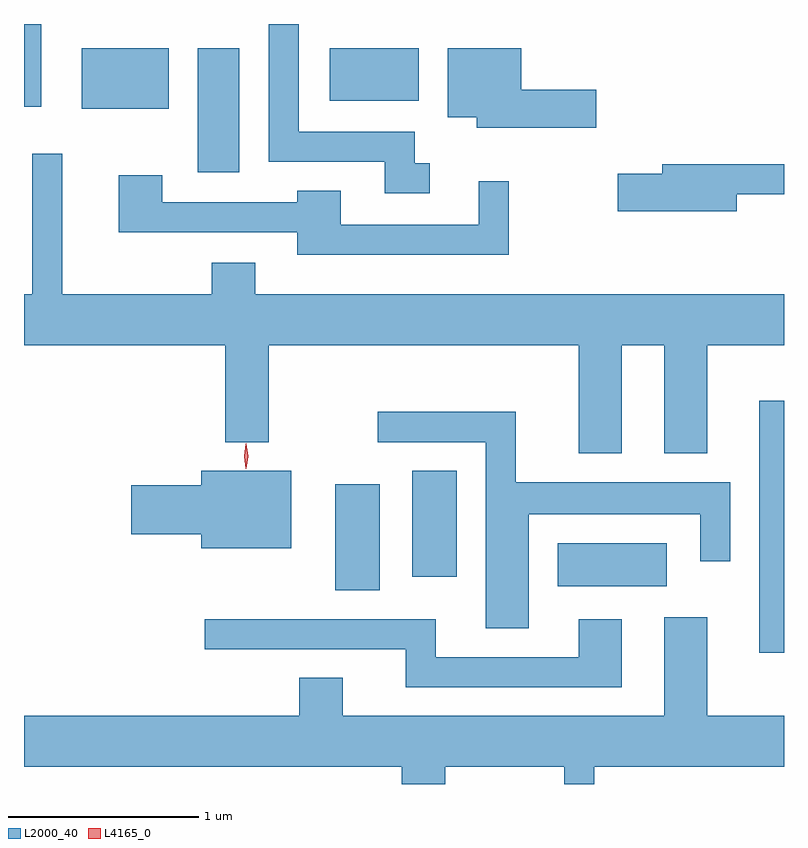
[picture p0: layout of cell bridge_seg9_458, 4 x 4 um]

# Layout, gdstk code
import gdstk
lib = gdstk.Library(unit=1e-6, precision=1e-09)
def R(c, l, rs):  # rectangles x0, y0, x1, y1
    for r in rs: c.add(gdstk.rectangle(r[:2], r[2:], *l))
def P(c, l, *ps):  # polygons
    for p in ps: c.add(gdstk.Polygon(p, *l))
L2000_40 = (2000, 40)
L4165_0 = (4165, 0)

bridge_seg9_458 = lib.new_cell('bridge_seg9_458')
R(bridge_seg9_458, L2000_40, [(490.181,1996.856,490.312,1998.184), (487.951,1997.186,488.184,1997.744), (489.121,1997.206,489.694,1997.434), (488.356,1997.256,488.589,1997.814), (487.226,1999.386,487.444,2000.039), (486.616,1999.721,487.074,2000.039), (486.312,1999.731,486.404,2000.166), (487.921,1999.761,488.389,2000.039)])
P(bridge_seg9_458, L2000_40, [(488.448,1999.434),(488.369,1999.434),(488.369,1999.599),(487.759,1999.599),(487.759,2000.166),(487.601,2000.166),(487.601,1999.441),(488.211,1999.441),(488.211,1999.276),(488.448,1999.276)],
  [(489.324,1999.819),(488.929,1999.819),(488.929,2000.039),(488.541,2000.039),(488.541,1999.676),(488.696,1999.676),(488.696,1999.621),(489.324,1999.621)],
  [(489.459,1998.476),(489.681,1998.476),(489.681,1997.906),(489.909,1997.906),(489.909,1998.476),(490.312,1998.476),(490.312,1998.744),(487.529,1998.744),(487.529,1998.909),(487.301,1998.909),(487.301,1998.744),(486.514,1998.744),(486.514,1999.483),(486.356,1999.483),(486.356,1998.744),(486.312,1998.744),(486.312,1998.476),(487.371,1998.476),(487.371,1997.966),(487.599,1997.966),(487.599,1998.476),(489.231,1998.476),(489.231,1997.906),(489.459,1997.906)],
  [(490.064,1999.271),(490.312,1999.271),(490.312,1999.429),(489.671,1999.429),(489.671,1999.379),(489.436,1999.379),(489.436,1999.181),(490.064,1999.181)],
  [(488.864,1999.338),(488.706,1999.338),(488.706,1999.109),(487.979,1999.109),(487.979,1999.289),(487.751,1999.289),(487.751,1999.229),(487.039,1999.229),(487.039,1999.369),(486.811,1999.369),(486.811,1999.071),(487.751,1999.071),(487.751,1998.951),(488.864,1998.951)],
  [(488.969,1997.586),(489.871,1997.586),(489.871,1997.338),(490.029,1997.338),(490.029,1997.754),(488.899,1997.754),(488.899,1998.124),(488.173,1998.124),(488.173,1997.966),(488.741,1997.966),(488.741,1996.986),(488.969,1996.986)],
  [(487.719,1997.814),(487.246,1997.814),(487.246,1997.739),(486.876,1997.739),(486.876,1997.481),(487.246,1997.481),(487.246,1997.406),(487.719,1997.406)],
  [(488.529,1996.256),(489.156,1996.256),(489.156,1996.166),(489.314,1996.166),(489.314,1996.256),(490.312,1996.256),(490.312,1996.524),(489.909,1996.524),(489.909,1997.044),(489.681,1997.044),(489.681,1996.524),(487.989,1996.524),(487.989,1996.724),(487.761,1996.724),(487.761,1996.524),(486.312,1996.524),(486.312,1996.256),(488.301,1996.256),(488.301,1996.166),(488.529,1996.166)],
  [(489.459,1997.034),(489.231,1997.034),(489.231,1996.834),(488.479,1996.834),(488.479,1997.034),(487.263,1997.034),(487.263,1996.876),(488.321,1996.876),(488.321,1996.676),(489.459,1996.676)])
P(bridge_seg9_458, L4165_0, [(487.481,1997.825),(487.48,1997.826),(487.471,1997.892),(487.48,1997.958),(487.481,1997.959),(487.481,1997.958),(487.491,1997.892),(487.481,1997.826)])

lib.write_gds('bridge_seg9_458.gds')
